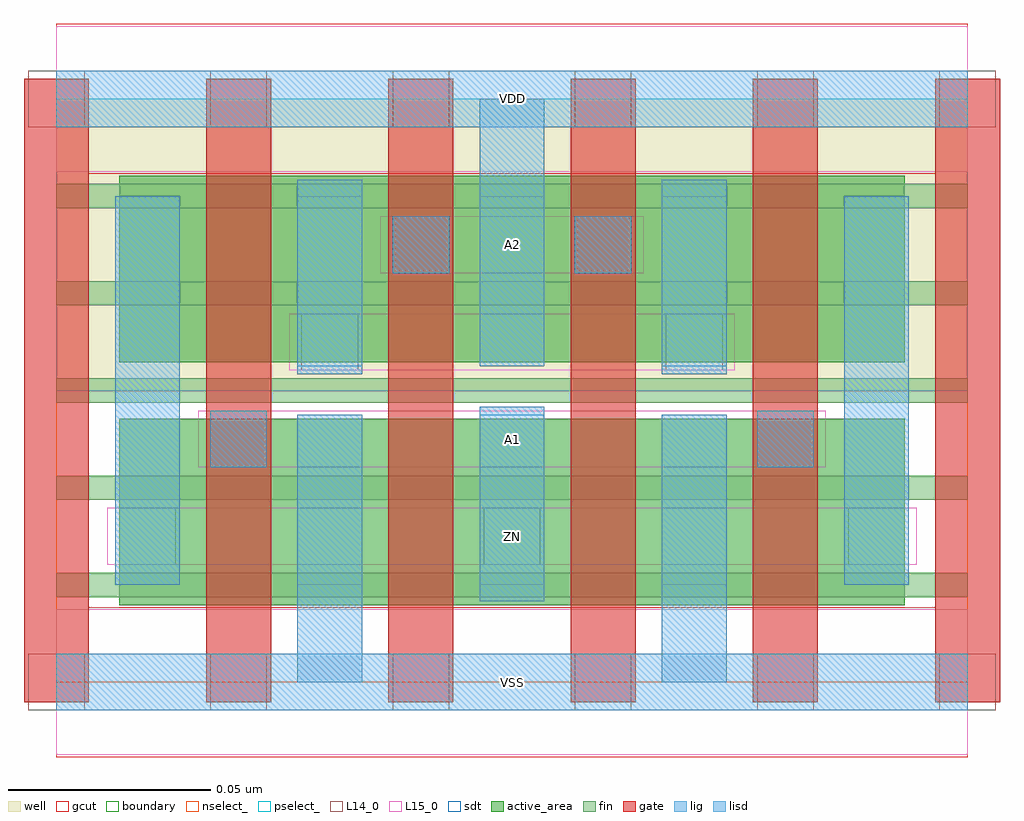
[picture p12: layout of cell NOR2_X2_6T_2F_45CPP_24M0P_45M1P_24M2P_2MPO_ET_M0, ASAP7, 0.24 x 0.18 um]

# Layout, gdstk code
import gdstk
lib = gdstk.Library(unit=1e-6, precision=2.5e-10)
def R(c, l, rs):  # rectangles x0, y0, x1, y1
    for r in rs: c.add(gdstk.rectangle(r[:2], r[2:], *l))
def A(c, l, x, y, w, h, nx, ny, dx, dy):  # array of equal rectangles
    R(c, l, [(x+i*dx, y+j*dy, x+i*dx+w, y+j*dy+h) for i in range(nx) for j in range(ny)])
well = (1, 0)
fin = (2, 0)
gate = (7, 0)
gcut = (10, 0)
active_area = (11, 0)
nselect_ = (12, 0)
pselect_ = (13, 0)
L14_0 = (14, 0)
L15_0 = (15, 0)
lig = (16, 0)
lisd = (17, 0)
sdt = (88, 0)
boundary = (100, 0)

nor2_x2_6t_2f_45cpp_24m0 = lib.new_cell('NOR2_X2_6T_2F_45CPP_24M0P_45M1P_24M2P_2MPO_ET_M0')
R(nor2_x2_6t_2f_45cpp_24m0, well, [(0,0.072,0.225,0.144)])
A(nor2_x2_6t_2f_45cpp_24m0, fin, 0, 0.021, 0.225, 0.006, 1, 5, 0, 0.024)
A(nor2_x2_6t_2f_45cpp_24m0, gate, -0.008, -0.005, 0.016, 0.154, 6, 1, 0.045, 0)
R(nor2_x2_6t_2f_45cpp_24m0, gcut, [(0,-0.0185,0.225,0.0185), (-0.008,-0.005,0.008,0.149), (0.217,-0.005,0.233,0.149), (0,0.1255,0.225,0.1625)])
A(nor2_x2_6t_2f_45cpp_24m0, active_area, 0.0155, 0.019, 0.059, 0.046, 4, 2, 0.045, 0.06)
R(nor2_x2_6t_2f_45cpp_24m0, nselect_, [(0,0,0.225,0.072)])
R(nor2_x2_6t_2f_45cpp_24m0, pselect_, [(0,0.072,0.225,0.144)])
A(nor2_x2_6t_2f_45cpp_24m0, L14_0, -0.007, -0.007, 0.014, 0.014, 6, 2, 0.045, 0.144)
A(nor2_x2_6t_2f_45cpp_24m0, L14_0, 0.0155, 0.029, 0.014, 0.014, 3, 1, 0.09, 0)
R(nor2_x2_6t_2f_45cpp_24m0, L14_0, [(0.038,0.053,0.052,0.067), (0.173,0.053,0.187,0.067), (0.0605,0.077,0.0745,0.091), (0.1505,0.077,0.1645,0.091), (0.083,0.101,0.097,0.115), (0.128,0.101,0.142,0.115)])
R(nor2_x2_6t_2f_45cpp_24m0, L15_0, [(0,-0.018,0.225,0.018), (0.0125,0.029,0.2125,0.043), (0.035,0.053,0.19,0.067), (0.0575,0.077,0.1675,0.091), (0.08,0.101,0.145,0.115), (0,0.126,0.225,0.162)])
R(nor2_x2_6t_2f_45cpp_24m0, lig, [(0,-0.007,0.225,0.007), (0.038,0.053,0.052,0.067), (0.173,0.053,0.187,0.067), (0.083,0.101,0.097,0.115), (0.128,0.101,0.142,0.115), (0,0.137,0.225,0.151)])
R(nor2_x2_6t_2f_45cpp_24m0, lisd, [(0.0595,0,0.0755,0.066), (0.1495,0,0.1655,0.066), (0.1045,0.02,0.1205,0.068), (0.0145,0.024,0.0305,0.12), (0.1945,0.024,0.2105,0.12), (0.0595,0.076,0.0755,0.124), (0.1495,0.076,0.1655,0.124), (0.1045,0.078,0.1205,0.144)])
A(nor2_x2_6t_2f_45cpp_24m0, sdt, 0.0595, 0.024, 0.016, 0.042, 3, 2, 0.045, 0.054)
R(nor2_x2_6t_2f_45cpp_24m0, sdt, [(0.0145,0.024,0.0305,0.12), (0.1945,0.024,0.2105,0.12)])
R(nor2_x2_6t_2f_45cpp_24m0, boundary, [(0,0,0.225,0.144)])
nor2_x2_6t_2f_45cpp_24m0.add(gdstk.Label('A2', (0.1125,0.108), layer=15, texttype=251))
nor2_x2_6t_2f_45cpp_24m0.add(gdstk.Label('A1', (0.1125,0.06), layer=15, texttype=251))
nor2_x2_6t_2f_45cpp_24m0.add(gdstk.Label('ZN', (0.1125,0.036), layer=15, texttype=251))
nor2_x2_6t_2f_45cpp_24m0.add(gdstk.Label('VDD', (0.1125,0.144), layer=15, texttype=251))
nor2_x2_6t_2f_45cpp_24m0.add(gdstk.Label('VSS', (0.1125,0), layer=15, texttype=251))
nor2_x2_6t_2f_45cpp_24m0.add(gdstk.Label('VDD', (0.1125,0.144), layer=1, texttype=251))
nor2_x2_6t_2f_45cpp_24m0.add(gdstk.Label('VSS', (0.1125,0), layer=3, texttype=251))

lib.write_gds('NOR2_X2_6T_2F_45CPP_24M0P_45M1P_24M2P_2MPO_ET_M0.gds')
